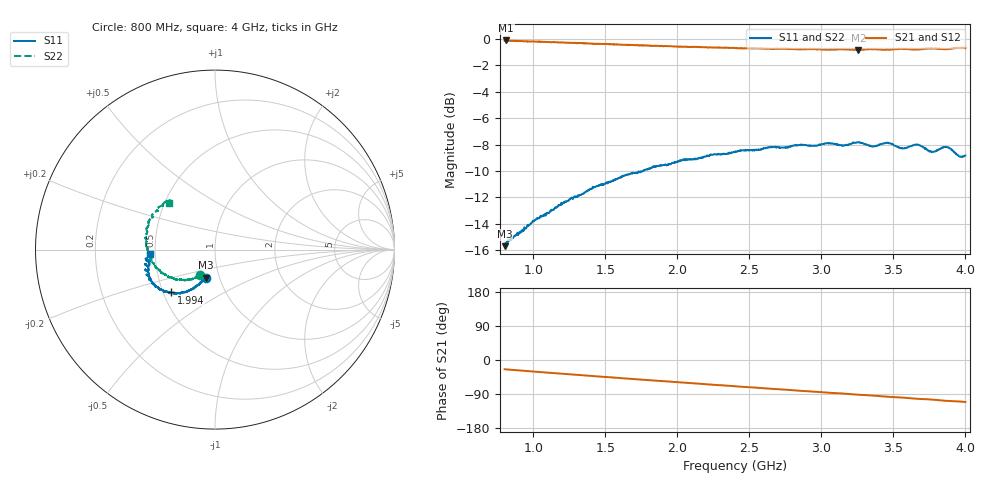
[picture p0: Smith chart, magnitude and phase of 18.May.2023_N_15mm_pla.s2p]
!Keysight Technologies N9950B: A.12.38
!Date: Thursday, 18 May 2023 16:48:57
!Timezone: (UTC-06:00) Central Time (US & Canada)
!Model: N9950B
!Serial: MY61131330
!GPS Latitude:
!GPS Longitude:
!GPS TimeStamp: 0001-01-01 00:00:00Z
!GPS Seconds Since Last Read: 0
!CHECKSUM:0225793376
!Correction: S11(ON U)S21(ON U)S12(ON U)S22(ON U)
!S2P File: Measurements:S11,S21,S12,S22:
# Hz S DB R 50
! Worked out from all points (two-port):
!   1001 points, 800 MHz to 4 GHz, reference 50 ohm
!   highest |S21| = -0.13 dB at 809.6 MHz (marker M1); lowest = -0.9 dB at 3.258 GHz (marker M2)
!   |S21| within 3 dB of the highest: start of sweep to end of sweep
!   lowest |S11| = -15.7 dB at 800 MHz (marker M3), VSWR 1.39, Z = 43 - j13.7 ohm
!   |S11| at or under -10 dB: start of sweep to 1.761 GHz
!   |S22| runs from -15.6 to -7.9 dB; largest |S21 - S12| = 0.006
!   S11 on the Smith chart (normalised r, x): 800 MHz: 0.86, -0.27; 1.994 GHz: 0.55, -0.30; 4 GHz: 0.47, -0.03
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8e8  -15.69 -108.7  -0.15 -24.4  -0.16 -24.5  -15.64 -120.1
8.096e8  -15.45 -108.2  -0.13 -24.7  -0.16 -24.7  -15.42 -119.5
1.008e9  -13.72 -114.2  -0.22 -30.7  -0.24 -30.6  -13.77 -127.4
1.3344e9  -11.76 -120.9  -0.34 -39.9  -0.35 -40.0  -11.77 -139.6
1.6288e9  -10.35 -128.0  -0.46 -48.6  -0.48 -48.4  -10.45 -149.8
1.8688e9  -9.61 -132.3  -0.54 -55.0  -0.57 -54.9  -9.68 -157.9
1.9936e9  -9.33 -135.6  -0.60 -58.5  -0.61 -58.4  -9.42 -162.1
2.4e9  -8.59 -143.5  -0.71 -69.3  -0.71 -69.2  -8.63 -175.5
2.7168e9  -8.25 -147.6  -0.75 -77.4  -0.77 -77.4  -8.27 172.6
2.8288e9  -8.05 -151.8  -0.80 -80.6  -0.82 -80.5  -8.13 170.2
2.9344e9  -8.09 -151.9  -0.78 -83.2  -0.80 -83.0  -8.18 165.5
3.2576e9  -7.82 -159.7  -0.85 -91.7  -0.85 -91.6  -7.96 156.2
3.3536e9  -8.14 -159.8  -0.79 -93.7  -0.79 -93.8  -8.13 152.3
3.4688e9  -7.91 -163.6  -0.84 -97.2  -0.84 -97.3  -7.99 149.2
3.552e9  -8.25 -163.5  -0.75 -98.9  -0.77 -98.8  -8.31 145.9
3.632e9  -8.08 -168.3  -0.82 -101.5  -0.83 -101.3  -8.11 145.3
3.7312e9  -8.37 -166.3  -0.74 -103.6  -0.77 -103.6  -8.45 139.4
3.7792e9  -8.54 -169.1  -0.74 -104.7  -0.73 -104.8  -8.51 139.5
3.8336e9  -8.27 -172.7  -0.78 -106.7  -0.79 -106.7  -8.30 139.2
3.8816e9  -8.21 -171.3  -0.78 -108.0  -0.79 -108.0  -8.38 135.5
3.9296e9  -8.66 -169.6  -0.71 -108.9  -0.73 -108.9  -8.68 132.3
4e9  -8.82 -175.9  -0.71 -110.8  -0.71 -110.7  -8.76 134.3
